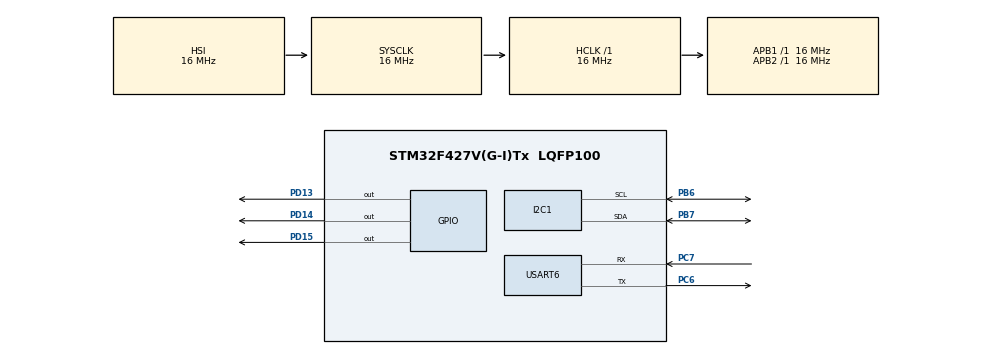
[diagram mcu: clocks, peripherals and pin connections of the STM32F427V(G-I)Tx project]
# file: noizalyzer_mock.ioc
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Mcu.Family=STM32F4
Mcu.Name=STM32F427V(G-I)Tx
Mcu.Package=LQFP100
NVIC.PriorityGroup=NVIC_PRIORITYGROUP_4
NVIC.USART6_IRQn=true\:0\:0\:false\:false\:true\:true\:true\:true
PA13.Mode=JTAG_5_pins
PA13.Signal=SYS_JTMS-SWDIO
PA14.Mode=JTAG_5_pins
PA14.Signal=SYS_JTCK-SWCLK
PA15.Mode=JTAG_5_pins
PA15.Signal=SYS_JTDI
PB3.Mode=JTAG_5_pins
PB3.Signal=SYS_JTDO-SWO
PB4.Mode=JTAG_5_pins
PB4.Signal=SYS_JTRST
PB6.Mode=I2C
PB6.Signal=I2C1_SCL
PB7.Mode=I2C
PB7.Signal=I2C1_SDA
PC6.Mode=Asynchronous
PC6.Signal=USART6_TX
PC7.Mode=Asynchronous
PC7.Signal=USART6_RX
PD13.Signal=GPIO_Output
PD14.Signal=GPIO_Output
PD15.Signal=GPIO_Output
PH0/OSC_IN.Mode=HSE-External-Oscillator
PH0/OSC_IN.Signal=RCC_OSC_IN
PH1/OSC_OUT.Mode=HSE-External-Oscillator
PH1/OSC_OUT.Signal=RCC_OSC_OUT
ProjectManager.HeapSize=0x200
ProjectManager.StackSize=0x400
ProjectManager.TargetToolchain=STM32CubeIDE
RCC.AHBFreq_Value=16000000
RCC.APB1Freq_Value=16000000
RCC.APB2Freq_Value=16000000
RCC.CortexFreq_Value=16000000
RCC.HSE_VALUE=25000000
RCC.HSI_VALUE=16000000
RCC.LSE_VALUE=32768
RCC.SYSCLKFreq_VALUE=16000000
RCC.VCOOutputFreq_Value=192000000
USART6.VirtualMode=VM_ASYNC
board=custom

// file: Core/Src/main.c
/* USER CODE BEGIN Header */
/**
 ******************************************************************************
 * @file           : main.c
 * @brief          : Main program body
 ******************************************************************************
 * @attention
 *
 * <h2><center>&copy; Copyright (c) 2022 STMicroelectronics.
 * All rights reserved.</center></h2>
 *
 * This software component is licensed by ST under BSD 3-Clause license,
 * the "License"; You may not use this file except in compliance with the
 * License. You may obtain a copy of the License at:
 *                        opensource.org/licenses/BSD-3-Clause
 *
 ******************************************************************************
 */
/* USER CODE END Header */
#include "main.h"

/* USER CODE BEGIN Includes */
#include "../../Drivers/lsm9ds1/lsm9ds1_reg.h"
//#include "i2c.h"//TODO
/* USER CODE END Includes */

/* USER CODE BEGIN PTD */
typedef struct {
	void *hbus;
	uint8_t i2c_address;
	GPIO_TypeDef *cs_port;
	uint16_t cs_pin;
} sensbus_t;

/* USER CODE END PTD */

/* USER CODE BEGIN PM */
#define DELAY 10000
#define SENSOR_BUS I2C1
#define BOOT_TIME 20 //ms
/* USER CODE END PM */

I2C_HandleTypeDef hi2c1;

UART_HandleTypeDef huart6;

/* USER CODE BEGIN PV */

static sensbus_t mag_bus = { I2C1,
LSM9DS1_MAG_I2C_ADD_H, 0, 0 };
static sensbus_t imu_bus = { I2C1,
LSM9DS1_IMU_I2C_ADD_H, 0, 0 };

static uint8_t * START_READING = "read\n";
uint8_t OUT_X_GB[1] = { 0 };
uint8_t OUT_X_GL[1] = { 0 };
uint8_t OUT_Y_GB[1] = { 0 };
uint8_t OUT_Y_GL[1] = { 0 };
uint8_t OUT_Z_GB[1] = { 0 };
uint8_t OUT_Z_GL[1] = { 0 };
/* USER CODE END PV */

void SystemClock_Config(void);
static void MX_GPIO_Init(void);
static void MX_USART6_UART_Init(void);
static void MX_I2C1_Init(void);

/* USER CODE BEGIN PFP */
static int32_t platform_write_imu(void *handle, uint8_t reg,
		const uint8_t *bufp, uint16_t len);
static int32_t platform_read_imu(void *handle, uint8_t reg, uint8_t *bufp,
		uint16_t len);
static int32_t platform_write_mag(void *handle, uint8_t reg,
		const uint8_t *bufp, uint16_t len);
static int32_t platform_read_mag(void *handle, uint8_t reg, uint8_t *bufp,
		uint16_t len);
static void putty_print(uint8_t *tx_buffer, uint16_t len);
/* USER CODE END PFP */

/* USER CODE BEGIN 0 */
volatile int server_message_received = 0; //TODO - flag is set in UART receive method when interrupt is called
static int16_t data_raw_acceleration[3];
static int16_t data_raw_angular_rate[3];
static int16_t data_raw_magnetic_field[3];
static float acceleration_mg[3];
static float angular_rate_mdps[3];
static float magnetic_field_mgauss[3];
static lsm9ds1_id_t whoamI;
static lsm9ds1_status_t reg;
static uint8_t rst;
static uint8_t tx_buffer[1000];
stmdev_ctx_t dev_ctx_imu;
stmdev_ctx_t dev_ctx_mag;
/* USER CODE END 0 */

int main(void) {

	/* MCU Configuration--------------------------------------------------------*/

	/* Reset of all peripherals, Initializes the Flash interface and the Systick. */
	HAL_Init();

	/* Configure the system clock */
	SystemClock_Config();

	/* Initialize all configured peripherals */
	MX_GPIO_Init();
	MX_USART6_UART_Init();
	MX_I2C1_Init();
	/* USER CODE BEGIN 2 */

	init_lsm9ds1();
//	init_lsm9ds1_2();
	/* USER CODE END 2 */

	/* Infinite loop */
	/* USER CODE BEGIN WHILE */
	while (1) {
		doCycle();
		/* USER CODE END WHILE */

	}
}

void SystemClock_Config(void) {
	RCC_OscInitTypeDef RCC_OscInitStruct = { 0 };
	RCC_ClkInitTypeDef RCC_ClkInitStruct = { 0 };

	/** Configure the main internal regulator output voltage
	 */
	__HAL_RCC_PWR_CLK_ENABLE();
	__HAL_PWR_VOLTAGESCALING_CONFIG(PWR_REGULATOR_VOLTAGE_SCALE3);
	/** Initializes the RCC Oscillators according to the specified parameters
	 * in the RCC_OscInitTypeDef structure.
	 */
	RCC_OscInitStruct.OscillatorType = RCC_OSCILLATORTYPE_HSI;
	RCC_OscInitStruct.HSIState = RCC_HSI_ON;
	RCC_OscInitStruct.HSICalibrationValue = RCC_HSICALIBRATION_DEFAULT;
	RCC_OscInitStruct.PLL.PLLState = RCC_PLL_NONE;
	if (HAL_RCC_OscConfig(&RCC_OscInitStruct) != HAL_OK) {
		Error_Handler();
	}
	/** Initializes the CPU, AHB and APB buses clocks
	 */
	RCC_ClkInitStruct.ClockType = RCC_CLOCKTYPE_HCLK | RCC_CLOCKTYPE_SYSCLK
			| RCC_CLOCKTYPE_PCLK1 | RCC_CLOCKTYPE_PCLK2;
	RCC_ClkInitStruct.SYSCLKSource = RCC_SYSCLKSOURCE_HSI;
	RCC_ClkInitStruct.AHBCLKDivider = RCC_SYSCLK_DIV1;
	RCC_ClkInitStruct.APB1CLKDivider = RCC_HCLK_DIV1;
	RCC_ClkInitStruct.APB2CLKDivider = RCC_HCLK_DIV1;

	if (HAL_RCC_ClockConfig(&RCC_ClkInitStruct, FLASH_LATENCY_0) != HAL_OK) {
		Error_Handler();
	}
}

static void MX_I2C1_Init(void) {

	hi2c1.Instance = I2C1;
	hi2c1.Init.ClockSpeed = 100000;
	hi2c1.Init.DutyCycle = I2C_DUTYCYCLE_2;
	hi2c1.Init.OwnAddress1 = 0;
	hi2c1.Init.AddressingMode = I2C_ADDRESSINGMODE_7BIT;
	hi2c1.Init.DualAddressMode = I2C_DUALADDRESS_DISABLE;
	hi2c1.Init.OwnAddress2 = 0;
	hi2c1.Init.GeneralCallMode = I2C_GENERALCALL_DISABLE;
	hi2c1.Init.NoStretchMode = I2C_NOSTRETCH_DISABLE;
	if (HAL_I2C_Init(&hi2c1) != HAL_OK) {
		Error_Handler();
	}
	/** Configure Analogue filter
	 */
	if (HAL_I2CEx_ConfigAnalogFilter(&hi2c1, I2C_ANALOGFILTER_ENABLE)
			!= HAL_OK) {
		Error_Handler();
	}
	/** Configure Digital filter
	 */
	if (HAL_I2CEx_ConfigDigitalFilter(&hi2c1, 0) != HAL_OK) {
		Error_Handler();
	}

}

static void MX_USART6_UART_Init(void) {

	huart6.Instance = USART6;
	huart6.Init.BaudRate = 115200;
	huart6.Init.WordLength = UART_WORDLENGTH_8B;
	huart6.Init.StopBits = UART_STOPBITS_1;
	huart6.Init.Parity = UART_PARITY_NONE;
	huart6.Init.Mode = UART_MODE_TX_RX;
	huart6.Init.HwFlowCtl = UART_HWCONTROL_NONE;
	huart6.Init.OverSampling = UART_OVERSAMPLING_16;
	if (HAL_UART_Init(&huart6) != HAL_OK) {
		Error_Handler();
	}

}

static void MX_GPIO_Init(void) {
	GPIO_InitTypeDef GPIO_InitStruct = { 0 };

	/* GPIO Ports Clock Enable */
	__HAL_RCC_GPIOH_CLK_ENABLE();
	__HAL_RCC_GPIOD_CLK_ENABLE();
	__HAL_RCC_GPIOC_CLK_ENABLE();
	__HAL_RCC_GPIOA_CLK_ENABLE();
	__HAL_RCC_GPIOB_CLK_ENABLE();

	/*Configure GPIO pin Output Level */
	HAL_GPIO_WritePin(GPIOD, GPIO_PIN_13 | GPIO_PIN_14 | GPIO_PIN_15,
			GPIO_PIN_RESET);

	/*Configure GPIO pins : PD13 PD14 PD15 */
	GPIO_InitStruct.Pin = GPIO_PIN_13 | GPIO_PIN_14 | GPIO_PIN_15;
	GPIO_InitStruct.Mode = GPIO_MODE_OUTPUT_PP;
	GPIO_InitStruct.Pull = GPIO_NOPULL;
	GPIO_InitStruct.Speed = GPIO_SPEED_FREQ_LOW;
	HAL_GPIO_Init(GPIOD, &GPIO_InitStruct);

}

/* USER CODE BEGIN 4 */
void doCycle() {
	if (server_message_received) {
		//TODO processing logic
	}
	toggleLed(GPIO_PIN_SET);
	putty_print(START_READING, sizeof(START_READING));
	for (int i = 0; i < 10; i++) {
		readImu();
	}

	toggleLed(GPIO_PIN_RESET);
	HAL_Delay(DELAY);
}

void toggleLed(GPIO_PinState status) {
	HAL_GPIO_TogglePin(GPIOD, GPIO_PIN_13);
}

void init_lsm9ds1_2(void) {
	uint8_t iNemoConfig[] = { 0xE3 };
	HAL_I2C_Mem_Write(&hi2c1, 0xD5, 0x10, 1, iNemoConfig, 1, 10);
}

void init_lsm9ds1(void) {
	uint8_t iNemoConfig[] = { 0xE3 };
	HAL_I2C_Mem_Write(&hi2c1, 0xD5, 0x10, 1, iNemoConfig, 1, 10);

	/* Initialize inertial sensors (IMU) driver interface */
	dev_ctx_imu.write_reg = platform_write_imu;
	dev_ctx_imu.read_reg = platform_read_imu;
	dev_ctx_imu.handle = (void*) &imu_bus;

	/* Initialize magnetic sensors driver interface */
	dev_ctx_mag.write_reg = platform_write_mag;
	dev_ctx_mag.read_reg = platform_read_mag;
	dev_ctx_mag.handle = (void*) &mag_bus;
	/* Wait sensor boot time */
	HAL_Delay(BOOT_TIME);
	/* Check device ID */
	lsm9ds1_dev_id_get(&dev_ctx_mag, &dev_ctx_imu, &whoamI);

	/* Restore default configuration */
	lsm9ds1_dev_reset_set(&dev_ctx_mag, &dev_ctx_imu, PROPERTY_ENABLE);

	do {
		lsm9ds1_dev_reset_get(&dev_ctx_mag, &dev_ctx_imu, &rst);
	} while (rst);

	/* Enable Block Data Update */
	lsm9ds1_block_data_update_set(&dev_ctx_mag, &dev_ctx_imu, PROPERTY_ENABLE);
	/* Set full scale */
	lsm9ds1_xl_full_scale_set(&dev_ctx_imu, LSM9DS1_4g);
	lsm9ds1_gy_full_scale_set(&dev_ctx_imu, LSM9DS1_2000dps);
	/* Configure filtering chain - See datasheet for filtering chain details */
	/* Accelerometer filtering chain */
	lsm9ds1_xl_filter_aalias_bandwidth_set(&dev_ctx_imu, LSM9DS1_AUTO);
	lsm9ds1_xl_filter_lp_bandwidth_set(&dev_ctx_imu, LSM9DS1_LP_ODR_DIV_50);
	lsm9ds1_xl_filter_out_path_set(&dev_ctx_imu, LSM9DS1_LP_OUT);
	/* Gyroscope filtering chain */
	lsm9ds1_gy_filter_lp_bandwidth_set(&dev_ctx_imu, LSM9DS1_LP_ULTRA_LIGHT);
	lsm9ds1_gy_filter_hp_bandwidth_set(&dev_ctx_imu, LSM9DS1_HP_MEDIUM);
	lsm9ds1_gy_filter_out_path_set(&dev_ctx_imu, LSM9DS1_LPF1_HPF_LPF2_OUT);
	/* Set Output Data Rate / Power mode */
	lsm9ds1_imu_data_rate_set(&dev_ctx_imu, LSM9DS1_IMU_59Hz5);
	/* Read samples in polling mode (no int) */
}

void readImu_2() {

	HAL_I2C_Mem_Read(&hi2c1, 0xD5, 0x28, 1, OUT_X_GB, 1, 10);
	HAL_I2C_Mem_Read(&hi2c1, 0xD5, 0x29, 1, OUT_X_GL, 1, 10);

	HAL_I2C_Mem_Read(&hi2c1, 0xD5, 0x2A, 1, OUT_Y_GB, 1, 10);
	HAL_I2C_Mem_Read(&hi2c1, 0xD5, 0x2B, 1, OUT_Y_GL, 1, 10);

	HAL_I2C_Mem_Read(&hi2c1, 0xD5, 0x2C, 1, OUT_Z_GB, 1, 10);
	HAL_I2C_Mem_Read(&hi2c1, 0xD5, 0x2D, 1, OUT_Z_GL, 1, 10);
}

void printImu() {
	sprintf((char*) tx_buffer,
//				"IMU - [X_GB]:%4.2f\t[X_GL]%4.2f\t[Y_GB]%4.2f\t[Y_GL]:%4.2f\t[Z_GB]%4.2f\t[Z_GL]%4.2f\r\n",
			"IMU - [X_GB]:%d\t[X_GL]%d\t[Y_GB]%d\t[Y_GL]:%d\t[Z_GB]%d\t[Z_GL]%d\r\n",
			OUT_X_GB[0], OUT_X_GL[0], OUT_Y_GB[0], OUT_Y_GL[0], OUT_Z_GB[0],
			OUT_Z_GL[0]);
	putty_print(tx_buffer, strlen((char const*) tx_buffer));
}

void readImu() {

	/* Read device status register */
	lsm9ds1_dev_status_get(&dev_ctx_mag, &dev_ctx_imu, &reg);

	/* Read imu data */
	memset(data_raw_acceleration, 0x00, 3 * sizeof(int16_t));
	memset(data_raw_angular_rate, 0x00, 3 * sizeof(int16_t));
	lsm9ds1_acceleration_raw_get(&dev_ctx_imu, data_raw_acceleration);
	lsm9ds1_angular_rate_raw_get(&dev_ctx_imu, data_raw_angular_rate);
	acceleration_mg[0] = lsm9ds1_from_fs4g_to_mg(data_raw_acceleration[0]);
	acceleration_mg[1] = lsm9ds1_from_fs4g_to_mg(data_raw_acceleration[1]);
	acceleration_mg[2] = lsm9ds1_from_fs4g_to_mg(data_raw_acceleration[2]);
	angular_rate_mdps[0] = lsm9ds1_from_fs2000dps_to_mdps(
			data_raw_angular_rate[0]);
	angular_rate_mdps[1] = lsm9ds1_from_fs2000dps_to_mdps(
			data_raw_angular_rate[1]);
	angular_rate_mdps[2] = lsm9ds1_from_fs2000dps_to_mdps(
			data_raw_angular_rate[2]);
	sprintf((char*) tx_buffer,
			"IMU - [mg]:%4.2f\t%4.2f\t%4.2f\t[mdps]:%4.2f\t%4.2f\t%4.2f\r\n",
			acceleration_mg[0], acceleration_mg[1], acceleration_mg[2],
			angular_rate_mdps[0], angular_rate_mdps[1], angular_rate_mdps[2]);
	putty_print(tx_buffer, strlen((char const*) tx_buffer));
}

/*
 * @brief  Write generic imu register (platform dependent)
 *
 * @param  handle    customizable argument. In this examples is used in
 *                   order to select the correct sensor bus handler.
 * @param  reg       register to write
 * @param  bufp      pointer to data to write in register reg
 * @param  len       number of consecutive register to write
 *
 */
static int32_t platform_write_imu(void *handle, uint8_t reg,
		const uint8_t *bufp, uint16_t len) {
	sensbus_t *sensbus = (sensbus_t*) handle;
	HAL_I2C_Mem_Write(sensbus->hbus, sensbus->i2c_address, reg,
	I2C_MEMADD_SIZE_8BIT, (uint8_t*) bufp, len, 1000);
	return 0;
}

/*
 * @brief  Read generic imu register (platform dependent)
 *
 * @param  handle    customizable argument. In this examples is used in
 *                   order to select the correct sensor bus handler.
 * @param  reg       register to read
 * @param  bufp      pointer to buffer that store the data read
 * @param  len       number of consecutive register to read
 *
 */
static int32_t platform_read_imu(void *handle, uint8_t reg, uint8_t *bufp,
		uint16_t len) {
	sensbus_t *sensbus = (sensbus_t*) handle;

	HAL_I2C_Mem_Read(sensbus->hbus, sensbus->i2c_address, reg,
	I2C_MEMADD_SIZE_8BIT, bufp, len, 1000);
	return 0;
}
/*
 * @brief  Write generic magnetometer register (platform dependent)
 *
 * @param  handle    customizable argument. In this examples is used in
 *                   order to select the correct sensor bus handler.
 * @param  reg       register to write
 * @param  bufp      pointer to data to write in register reg
 * @param  len       number of consecutive register to write
 *
 */
static int32_t platform_write_mag(void *handle, uint8_t reg,
		const uint8_t *bufp, uint16_t len) {
	sensbus_t *sensbus = (sensbus_t*) handle;
	/* Write multiple command */
	reg |= 0x80;
	HAL_I2C_Mem_Write(sensbus->hbus, sensbus->i2c_address, reg,
	I2C_MEMADD_SIZE_8BIT, (uint8_t*) bufp, len, 1000);

	return 0;
}

/*
 * @brief  Read generic magnetometer register (platform dependent)
 *
 * @param  handle    customizable argument. In this examples is used in
 *                   order to select the correct sensor bus handler.
 * @param  reg       register to read
 * @param  bufp      pointer to buffer that store the data read
 * @param  len       number of consecutive register to read
 *
 */
static int32_t platform_read_mag(void *handle, uint8_t reg, uint8_t *bufp,
		uint16_t len) {
	sensbus_t *sensbus = (sensbus_t*) handle;

	/* Read multiple command */
	reg |= 0x80;
	HAL_I2C_Mem_Read(sensbus->hbus, sensbus->i2c_address, reg,
	I2C_MEMADD_SIZE_8BIT, bufp, len, 1000);
	return 0;
}

/*
 * @brief  Send buffer to console
 *
 * @param  tx_buffer     buffer to transmit
 * @param  len           number of byte to send
 *
 */
static void putty_print(uint8_t *tx_buffer, uint16_t len) {
	HAL_UART_Transmit(&huart6, tx_buffer, len, 1000);
}

/* USER CODE END 4 */

void Error_Handler(void) {
	/* USER CODE BEGIN Error_Handler_Debug */
	uint8_t *data = { "error!" };
	HAL_UART_Transmit(&huart6, data, sizeof(data), 2000);
	/* User can add his own implementation to report the HAL error return state */
	__disable_irq();
	while (1) {
	}
	/* USER CODE END Error_Handler_Debug */
}

/************************ (C) COPYRIGHT STMicroelectronics *****END OF FILE****/
